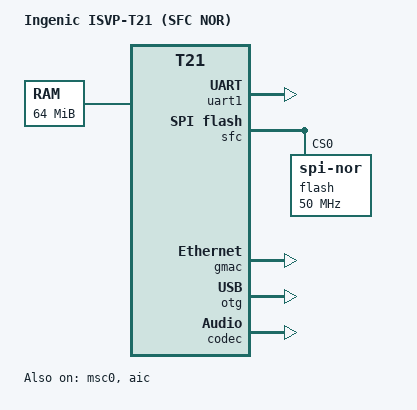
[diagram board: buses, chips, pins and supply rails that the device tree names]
// SPDX-License-Identifier: GPL-2.0+
/*
 * Ingenic ISVP-T21 shared board body (SFC-NOR, USB host).
 *
 * The per-SKU leaf .dts files (t21n-isvp.dts, t21hp-isvp.dts) include
 * this and supply the DDR node's per-SKU "ingenic,sdram-params"
 * array, consumed by the shared Innophy DDR driver (ddr_t31.c). The
 * matching <leaf>-u-boot.dtsi pulls in t21-isvp-uboot-common.dtsi
 * (binman image + SPL bootph).
 */

#include <dt-bindings/gpio/gpio.h>
#include "t21.dtsi"

/ {
	compatible = "ingenic,isvp-t21", "ingenic,t21";
	model = "Ingenic ISVP-T21 (SFC NOR)";

	aliases {
		serial1 = &uart1;
	};

	chosen {
		stdout-path = "serial1:115200n8";
	};

	memory {
		device_type = "memory";
		reg = <0x0 0x04000000>;	/* 64 MB DDR2 (T21N) */
	};
};

&uart1 {
	status = "okay";
};

&sfc {
	status = "okay";

	flash@0 {
		compatible = "jedec,spi-nor";
		reg = <0>;
		spi-max-frequency = <50000000>;
	};
};

&msc0 {
	status = "okay";
	bus-width = <4>;
	broken-cd;	/* no card-detect line wired on the ISVP board */
};

&gmac {
	/* T21 embedded ePHY: no external PHY chip, no reset GPIO. */
	status = "okay";
};

&otg {
	status = "okay";
};

&aic {
	status = "okay";
};

&codec {
	status = "okay";
	/* Speaker-amp enable: SDK default PB31, active-high. Override
	 * here per board if the amp is on a different pin/polarity. */
	ingenic,spk-gpio = <&gpb 31 GPIO_ACTIVE_HIGH>;
};

&sound {
	status = "okay";
};
